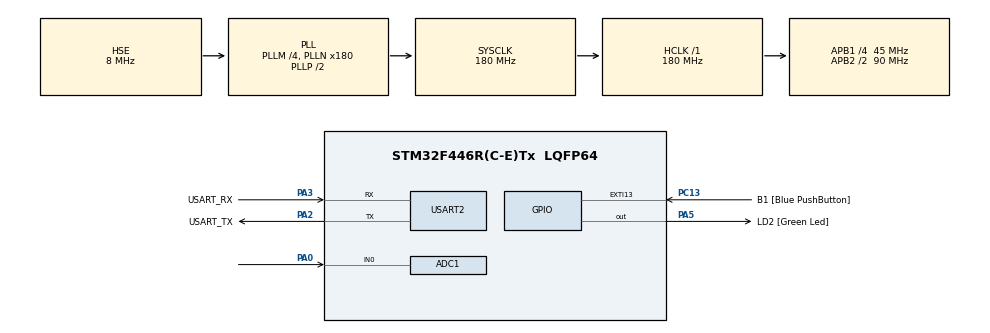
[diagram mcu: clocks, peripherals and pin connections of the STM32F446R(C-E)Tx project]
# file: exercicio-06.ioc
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ADC1.Channel-0\#ChannelRegularConversion=ADC_CHANNEL_0
ADC1.NbrOfConversionFlag=1
ADC1.Rank-0\#ChannelRegularConversion=1
ADC1.SamplingTime-0\#ChannelRegularConversion=ADC_SAMPLETIME_3CYCLES
ADC1.master=1
FREERTOS.BinarySemaphores01=semStart,Dynamic,NULL,Depleted;semCalc,Dynamic,NULL,Depleted;semSave,Dynamic,NULL,Depleted;semSend,Dynamic,NULL,Depleted
FREERTOS.Tasks01=TaskADC,40,128,TaskADCFunc,Default,NULL,Dynamic,NULL,NULL;TaskCalc,32,128,TaskCalcFunc,Default,NULL,Dynamic,NULL,NULL;TaskSave,24,128,TaskSaveFunc,Default,NULL,Dynamic,NULL,NULL;TaskSend,8,512,TaskSendFunc,Default,NULL,Dynamic,NULL,NULL
FREERTOS.configUSE_NEWLIB_REENTRANT=1
Mcu.Family=STM32F4
Mcu.Name=STM32F446R(C-E)Tx
Mcu.Package=LQFP64
NVIC.EXTI15_10_IRQn=true\:5\:0\:false\:false\:true\:true\:true\:true\:true
NVIC.PriorityGroup=NVIC_PRIORITYGROUP_4
NVIC.TIM2_IRQn=true\:15\:0\:false\:false\:true\:false\:false\:true\:true
NVIC.TimeBase=TIM2_IRQn
NVIC.TimeBaseIP=TIM2
PA0-WKUP.Signal=ADCx_IN0
PA13.GPIO_Label=TMS
PA13.Mode=Serial_Wire
PA13.Signal=SYS_JTMS-SWDIO
PA14.GPIO_Label=TCK
PA14.Mode=Serial_Wire
PA14.Signal=SYS_JTCK-SWCLK
PA2.GPIO_Label=USART_TX
PA2.Mode=Asynchronous
PA2.Signal=USART2_TX
PA3.GPIO_Label=USART_RX
PA3.Mode=Asynchronous
PA3.Signal=USART2_RX
PA5.GPIO_Label=LD2 [Green Led]
PA5.Signal=GPIO_Output
PB3.GPIO_Label=SWO
PB3.Signal=SYS_JTDO-SWO
PC13.GPIO_Label=B1 [Blue PushButton]
PC13.GPIO_ModeDefaultEXTI=GPIO_MODE_IT_FALLING
PC13.Signal=GPXTI13
PC14-OSC32_IN.Mode=LSE-External-Oscillator
PC14-OSC32_IN.Signal=RCC_OSC32_IN
PC15-OSC32_OUT.Mode=LSE-External-Oscillator
PC15-OSC32_OUT.Signal=RCC_OSC32_OUT
PH0-OSC_IN.Mode=HSE-External-Oscillator
PH0-OSC_IN.Signal=RCC_OSC_IN
PH1-OSC_OUT.Mode=HSE-External-Oscillator
PH1-OSC_OUT.Signal=RCC_OSC_OUT
ProjectManager.HeapSize=0x200
ProjectManager.StackSize=0x400
ProjectManager.TargetToolchain=STM32CubeIDE
RCC.48MHZClocksFreq_Value=84000000
RCC.AHBFreq_Value=180000000
RCC.APB1CLKDivider=RCC_HCLK_DIV4
RCC.APB1Freq_Value=45000000
RCC.APB1TimFreq_Value=90000000
RCC.APB2CLKDivider=RCC_HCLK_DIV2
RCC.APB2Freq_Value=90000000
RCC.APB2TimFreq_Value=180000000
RCC.CortexFreq_Value=180000000
RCC.FLatency-AdvancedSettings=FLASH_LATENCY_5
RCC.HCLKFreq_Value=180000000
RCC.HSE_VALUE=8000000
RCC.HSI_VALUE=16000000
RCC.PLLM=4
RCC.PLLN=180
RCC.PLLSourceVirtual=RCC_PLLSOURCE_HSE
RCC.SYSCLKFreq_VALUE=180000000
RCC.SYSCLKSource=RCC_SYSCLKSOURCE_PLLCLK
RCC.USBFreq_Value=180000000
RCC.VCOOutputFreq_Value=360000000
SH.ADCx_IN0.0=ADC1_IN0,IN0
USART2.VirtualMode=VM_ASYNC
VP_FREERTOS_VS_CMSIS_V2.Mode=CMSIS_V2
VP_SYS_VS_tim2.Mode=TIM2
board=NUCLEO-F446RE

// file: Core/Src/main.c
/* USER CODE BEGIN Header */
/**
 ******************************************************************************
 * @file           : main.c
 * @brief          : Main program body
 ******************************************************************************
 * @attention
 *
 * Copyright (c) 2025 STMicroelectronics.
 * All rights reserved.
 *
 * This software is licensed under terms that can be found in the LICENSE file
 * in the root directory of this software component.
 * If no LICENSE file comes with this software, it is provided AS-IS.
 *
 ******************************************************************************
 */
/* USER CODE END Header */
#include "main.h"
#include "cmsis_os.h"

/* USER CODE BEGIN Includes */
#include <stdio.h>
#include <string.h>
/* USER CODE END Includes */

ADC_HandleTypeDef hadc1;

UART_HandleTypeDef huart2;

/* Definitions for TaskADC */
osThreadId_t TaskADCHandle;
const osThreadAttr_t TaskADC_attributes = { .name = "TaskADC", .stack_size = 128
		* 4, .priority = (osPriority_t) osPriorityHigh, };
/* Definitions for TaskCalc */
osThreadId_t TaskCalcHandle;
const osThreadAttr_t TaskCalc_attributes = { .name = "TaskCalc", .stack_size =
		128 * 4, .priority = (osPriority_t) osPriorityAboveNormal, };
/* Definitions for TaskSave */
osThreadId_t TaskSaveHandle;
const osThreadAttr_t TaskSave_attributes = { .name = "TaskSave", .stack_size =
		128 * 4, .priority = (osPriority_t) osPriorityNormal, };
/* Definitions for TaskSend */
osThreadId_t TaskSendHandle;
const osThreadAttr_t TaskSend_attributes = { .name = "TaskSend", .stack_size =
		512 * 4, .priority = (osPriority_t) osPriorityLow, };
/* Definitions for semStart */
osSemaphoreId_t semStartHandle;
const osSemaphoreAttr_t semStart_attributes = { .name = "semStart" };
/* Definitions for semCalc */
osSemaphoreId_t semCalcHandle;
const osSemaphoreAttr_t semCalc_attributes = { .name = "semCalc" };
/* Definitions for semSave */
osSemaphoreId_t semSaveHandle;
const osSemaphoreAttr_t semSave_attributes = { .name = "semSave" };
/* Definitions for semSend */
osSemaphoreId_t semSendHandle;
const osSemaphoreAttr_t semSend_attributes = { .name = "semSend" };
/* USER CODE BEGIN PV */
uint32_t adc_samples[100];
double media_calculada = 0;
int ciclo_atual = 0;
uint8_t processo_ativo = 0;
char buffer[100];
double static historico[10];
double volt = 0;
/* USER CODE END PV */

void SystemClock_Config(void);
static void MX_GPIO_Init(void);
static void MX_USART2_UART_Init(void);
static void MX_ADC1_Init(void);
void TaskADCFunc(void *argument);
void TaskCalcFunc(void *argument);
void TaskSaveFunc(void *argument);
void TaskSendFunc(void *argument);

int main(void) {

	/* MCU Configuration--------------------------------------------------------*/

	/* Reset of all peripherals, Initializes the Flash interface and the Systick. */
	HAL_Init();

	/* Configure the system clock */
	SystemClock_Config();

	/* Initialize all configured peripherals */
	MX_GPIO_Init();
	MX_USART2_UART_Init();
	MX_ADC1_Init();

	/* Init scheduler */
	osKernelInitialize();

	/* Create the semaphores(s) */
	/* creation of semStart */
	semStartHandle = osSemaphoreNew(1, 0, &semStart_attributes);

	/* creation of semCalc */
	semCalcHandle = osSemaphoreNew(1, 0, &semCalc_attributes);

	/* creation of semSave */
	semSaveHandle = osSemaphoreNew(1, 0, &semSave_attributes);

	/* creation of semSend */
	semSendHandle = osSemaphoreNew(1, 0, &semSend_attributes);

	/* Create the thread(s) */
	/* creation of TaskADC */
	TaskADCHandle = osThreadNew(TaskADCFunc, NULL, &TaskADC_attributes);

	/* creation of TaskCalc */
	TaskCalcHandle = osThreadNew(TaskCalcFunc, NULL, &TaskCalc_attributes);

	/* creation of TaskSave */
	TaskSaveHandle = osThreadNew(TaskSaveFunc, NULL, &TaskSave_attributes);

	/* creation of TaskSend */
	TaskSendHandle = osThreadNew(TaskSendFunc, NULL, &TaskSend_attributes);

	/* Start scheduler */
	osKernelStart();

	/* We should never get here as control is now taken by the scheduler */

	/* Infinite loop */
	while (1) {

	}
}

void SystemClock_Config(void) {
	RCC_OscInitTypeDef RCC_OscInitStruct = { 0 };
	RCC_ClkInitTypeDef RCC_ClkInitStruct = { 0 };

	/** Configure the main internal regulator output voltage
	 */
	__HAL_RCC_PWR_CLK_ENABLE();
	__HAL_PWR_VOLTAGESCALING_CONFIG(PWR_REGULATOR_VOLTAGE_SCALE1);

	/** Initializes the RCC Oscillators according to the specified parameters
	 * in the RCC_OscInitTypeDef structure.
	 */
	RCC_OscInitStruct.OscillatorType = RCC_OSCILLATORTYPE_HSE;
	RCC_OscInitStruct.HSEState = RCC_HSE_ON;
	RCC_OscInitStruct.PLL.PLLState = RCC_PLL_ON;
	RCC_OscInitStruct.PLL.PLLSource = RCC_PLLSOURCE_HSE;
	RCC_OscInitStruct.PLL.PLLM = 4;
	RCC_OscInitStruct.PLL.PLLN = 180;
	RCC_OscInitStruct.PLL.PLLP = RCC_PLLP_DIV2;
	RCC_OscInitStruct.PLL.PLLQ = 2;
	RCC_OscInitStruct.PLL.PLLR = 2;
	if (HAL_RCC_OscConfig(&RCC_OscInitStruct) != HAL_OK) {
		Error_Handler();
	}

	/** Activate the Over-Drive mode
	 */
	if (HAL_PWREx_EnableOverDrive() != HAL_OK) {
		Error_Handler();
	}

	/** Initializes the CPU, AHB and APB buses clocks
	 */
	RCC_ClkInitStruct.ClockType = RCC_CLOCKTYPE_HCLK | RCC_CLOCKTYPE_SYSCLK
			| RCC_CLOCKTYPE_PCLK1 | RCC_CLOCKTYPE_PCLK2;
	RCC_ClkInitStruct.SYSCLKSource = RCC_SYSCLKSOURCE_PLLCLK;
	RCC_ClkInitStruct.AHBCLKDivider = RCC_SYSCLK_DIV1;
	RCC_ClkInitStruct.APB1CLKDivider = RCC_HCLK_DIV4;
	RCC_ClkInitStruct.APB2CLKDivider = RCC_HCLK_DIV2;

	if (HAL_RCC_ClockConfig(&RCC_ClkInitStruct, FLASH_LATENCY_5) != HAL_OK) {
		Error_Handler();
	}
}

static void MX_ADC1_Init(void) {

	ADC_ChannelConfTypeDef sConfig = { 0 };

	/** Configure the global features of the ADC (Clock, Resolution, Data Alignment and number of conversion)
	 */
	hadc1.Instance = ADC1;
	hadc1.Init.ClockPrescaler = ADC_CLOCK_SYNC_PCLK_DIV4;
	hadc1.Init.Resolution = ADC_RESOLUTION_12B;
	hadc1.Init.ScanConvMode = DISABLE;
	hadc1.Init.ContinuousConvMode = DISABLE;
	hadc1.Init.DiscontinuousConvMode = DISABLE;
	hadc1.Init.ExternalTrigConvEdge = ADC_EXTERNALTRIGCONVEDGE_NONE;
	hadc1.Init.ExternalTrigConv = ADC_SOFTWARE_START;
	hadc1.Init.DataAlign = ADC_DATAALIGN_RIGHT;
	hadc1.Init.NbrOfConversion = 1;
	hadc1.Init.DMAContinuousRequests = DISABLE;
	hadc1.Init.EOCSelection = ADC_EOC_SINGLE_CONV;
	if (HAL_ADC_Init(&hadc1) != HAL_OK) {
		Error_Handler();
	}

	/** Configure for the selected ADC regular channel its corresponding rank in the sequencer and its sample time.
	 */
	sConfig.Channel = ADC_CHANNEL_0;
	sConfig.Rank = 1;
	sConfig.SamplingTime = ADC_SAMPLETIME_3CYCLES;
	if (HAL_ADC_ConfigChannel(&hadc1, &sConfig) != HAL_OK) {
		Error_Handler();
	}

}

static void MX_USART2_UART_Init(void) {

	huart2.Instance = USART2;
	huart2.Init.BaudRate = 115200;
	huart2.Init.WordLength = UART_WORDLENGTH_8B;
	huart2.Init.StopBits = UART_STOPBITS_1;
	huart2.Init.Parity = UART_PARITY_NONE;
	huart2.Init.Mode = UART_MODE_TX_RX;
	huart2.Init.HwFlowCtl = UART_HWCONTROL_NONE;
	huart2.Init.OverSampling = UART_OVERSAMPLING_16;
	if (HAL_UART_Init(&huart2) != HAL_OK) {
		Error_Handler();
	}

}

static void MX_GPIO_Init(void) {
	GPIO_InitTypeDef GPIO_InitStruct = { 0 };

	/* GPIO Ports Clock Enable */
	__HAL_RCC_GPIOC_CLK_ENABLE();
	__HAL_RCC_GPIOH_CLK_ENABLE();
	__HAL_RCC_GPIOA_CLK_ENABLE();
	__HAL_RCC_GPIOB_CLK_ENABLE();

	/*Configure GPIO pin Output Level */
	HAL_GPIO_WritePin(LD2_GPIO_Port, LD2_Pin, GPIO_PIN_RESET);

	/*Configure GPIO pin : B1_Pin */
	GPIO_InitStruct.Pin = B1_Pin;
	GPIO_InitStruct.Mode = GPIO_MODE_IT_FALLING;
	GPIO_InitStruct.Pull = GPIO_NOPULL;
	HAL_GPIO_Init(B1_GPIO_Port, &GPIO_InitStruct);

	/*Configure GPIO pin : LD2_Pin */
	GPIO_InitStruct.Pin = LD2_Pin;
	GPIO_InitStruct.Mode = GPIO_MODE_OUTPUT_PP;
	GPIO_InitStruct.Pull = GPIO_NOPULL;
	GPIO_InitStruct.Speed = GPIO_SPEED_FREQ_LOW;
	HAL_GPIO_Init(LD2_GPIO_Port, &GPIO_InitStruct);

	/* EXTI interrupt init*/
	HAL_NVIC_SetPriority(EXTI15_10_IRQn, 5, 0);
	HAL_NVIC_EnableIRQ(EXTI15_10_IRQn);

}

/* USER CODE BEGIN 4 */
void HAL_GPIO_EXTI_Callback(uint16_t GPIO_Pin) {
	if (GPIO_Pin == B1_Pin) {
		HAL_UART_Transmit(&huart2, (uint8_t*) "botao apertado!\n",
				strlen("botao apertado!\n"), HAL_MAX_DELAY);

		if (!processo_ativo) {
			HAL_UART_Transmit(&huart2, (uint8_t*) "\n= Iniciando processo... =\n",
							strlen("\n= Iniciando processo... =\n"), HAL_MAX_DELAY);

			osSemaphoreRelease(semStartHandle);
			processo_ativo = 1;
		}
	}
}
/* USER CODE END 4 */

void TaskADCFunc(void *argument) {
	/* USER CODE BEGIN 5 */
	/* Infinite loop */
	for (;;) {
		osSemaphoreAcquire(semStartHandle, osWaitForever);

		HAL_UART_Transmit(&huart2, (uint8_t*) "ADC: Iniciando coleta...\n",
				strlen("ADC: Iniciando coleta...\n"), HAL_MAX_DELAY);

		for (int i = 0; i < 100; i++) {
			HAL_ADC_Start(&hadc1);
			HAL_ADC_PollForConversion(&hadc1, HAL_MAX_DELAY);
			adc_samples[i] = HAL_ADC_GetValue(&hadc1);
			HAL_ADC_Stop(&hadc1);

			osDelay(10);
		}

		HAL_UART_Transmit(&huart2, (uint8_t*) "ADC: Conversoes finalizadas!\n",
				strlen("ADC: Conversoes finalizadas!\n"), HAL_MAX_DELAY);

		osSemaphoreRelease(semCalcHandle);

		osDelay(100);
	}
	/* USER CODE END 5 */
}

void TaskCalcFunc(void *argument) {
	/* USER CODE BEGIN TaskCalcFunc */
	/* Infinite loop */
	for (;;) {
		osSemaphoreAcquire(semCalcHandle, osWaitForever);

		uint32_t sum = 0;

		for (int i = 0; i < 100; i++) {
			sum += adc_samples[i];
		}

		media_calculada = sum / 100.0;

		HAL_UART_Transmit(&huart2, (uint8_t*) "media calculada!!\n",
				strlen("media calculada!!\n"), HAL_MAX_DELAY);

		osSemaphoreRelease(semSaveHandle);

		osDelay(1);
	}

	/* USER CODE END TaskCalcFunc */
}

void TaskSaveFunc(void *argument) {
	/* USER CODE BEGIN TaskSaveFunc */
	/* Infinite loop */
	for (;;) {
		osSemaphoreAcquire(semSaveHandle, osWaitForever);

		volt = (media_calculada * 3.3) / 4095;

		if (ciclo_atual < 10) {
			historico[ciclo_atual] = volt;
		} else {
			ciclo_atual = 0;
		}

		osSemaphoreRelease(semSendHandle);

		osDelay(1);
	}
	/* USER CODE END TaskSaveFunc */
}

void TaskSendFunc(void *argument) {
	/* USER CODE BEGIN TaskSendFunc */
	/* Infinite loop */
	for (;;) {
		osSemaphoreAcquire(semSendHandle, osWaitForever);

		int len = snprintf(buffer, sizeof(buffer), "Media = %.1lfV\n", volt);

		HAL_UART_Transmit(&huart2, (uint8_t*) buffer, len, 10);

		ciclo_atual++;

		HAL_UART_Transmit(&huart2, (uint8_t*) "aguardando botao...\n",
				strlen("aguardando botao...\n"), HAL_MAX_DELAY);

		processo_ativo = 0;

		osDelay(1);
	}
	/* USER CODE END TaskSendFunc */
}

void HAL_TIM_PeriodElapsedCallback(TIM_HandleTypeDef *htim) {
	if (htim->Instance == TIM2) {
		HAL_IncTick();
	}
}

void Error_Handler(void) {
	__disable_irq();
	while (1) {
	}
}
